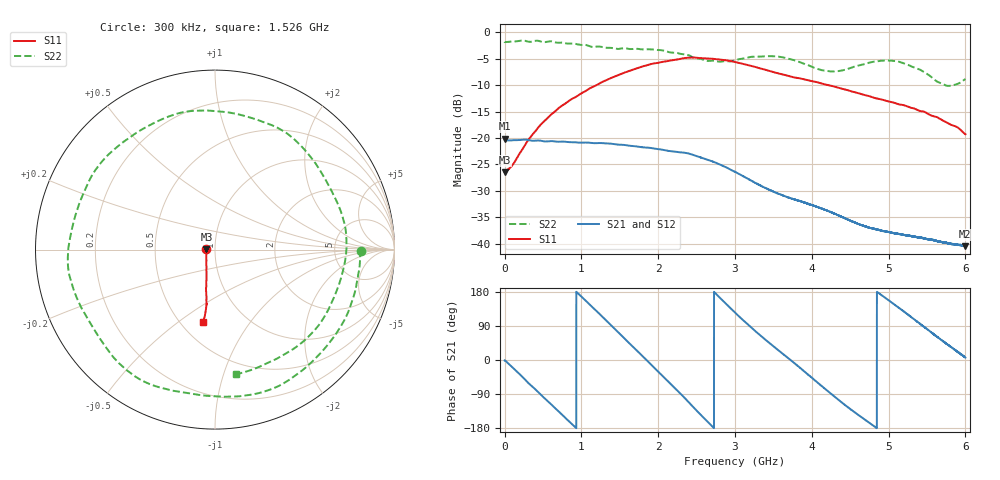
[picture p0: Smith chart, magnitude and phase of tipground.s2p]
!  8/6/2020  02:07:20
! Ref Plane: 0.000 mm
# MHZ S MA R  50
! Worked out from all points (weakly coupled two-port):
!   10001 points, 300 kHz to 6 GHz, reference 50 ohm
!   highest |S21| = -20.10 dB at 300 kHz (marker M1); lowest = -40.5 dB at 5.994 GHz (marker M2)
!   lowest |S11| = -26.5 dB at 300 kHz (marker M3), VSWR 1.10, Z = 45.5 + j0.0696 ohm
!   |S11| at or under -10 dB: start of sweep to 1.195 GHz; 4.218 GHz to end of sweep
!   |S22| runs from -10.1 to -1.5 dB; largest |S21 - S12| = 0.0025
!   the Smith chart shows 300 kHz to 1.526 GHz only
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0.3  0.04754 179.1  0.09891 -1.1  0.09644 -0.9  0.8148 -0.4
290.0855  0.09163 -122.3  0.09634 -56.7  0.09662 -56.8  0.8237 -84.2
594.8703  0.1643 -106.8  0.09339 -114.6  0.09362 -114.6  0.8246 -171.2
822.2589  0.2203 -103.0  0.09172 -158.8  0.0919 -158.8  0.784 124.0
1000.45  0.2647 -100.3  0.09037 167.2  0.09043 167.3  0.7612 73.9
1254.837  0.3347 -98.7  0.08967 117.7  0.0898 117.7  0.7318 -0.6
1541.023  0.4113 -99.3  0.08621 60.9  0.08641 60.8  0.7065 -84.5
1785.211  0.4733 -101.1  0.08206 12.5  0.08226 12.6  0.6905 -151.4
2000.6  0.5153 -104.3  0.0785 -30.5  0.07871 -30.5  0.6808 152.4
2257.387  0.5558 -107.7  0.07371 -82.0  0.07408 -82.0  0.636 86.0
2538.173  0.5715 -114.2  0.06606 -141.3  0.06613 -141.4  0.5655 7.4
2782.961  0.5549 -117.6  0.05695 168.3  0.05698 168.4  0.5296 -67.8
3000.15  0.5246 -120.5  0.0478 125.2  0.0478 125.2  0.5434 -134.2
3229.338  0.4783 -122.2  0.03885 82.2  0.03882 82.3  0.5879 163.9
3510.124  0.4194 -121.0  0.03082 34.4  0.03074 34.4  0.5947 94.7
4000.3  0.346 -114.4  0.02323 -46.6  0.02318 -46.5  0.4734 -32.5
4218.689  0.3161 -112.0  0.02033 -83.9  0.02031 -84.0  0.4298 -102.2
4482.076  0.2817 -107.8  0.01671 -126.4  0.0168 -126.4  0.4533 174.5
5000.45  0.2219 -98.7  0.0129 157.5  0.0129 157.5  0.5408 44.9
5498.425  0.1718 -88.8  0.01107 82.0  0.01112 81.6  0.406 -75.5
5994  0.1093 -75.3  0.009473 7.4  0.009593 7.2  0.3596 114.9
6000  0.1085 -75.2  0.009542 6.3  0.009563 6.4  0.3621 113.1
